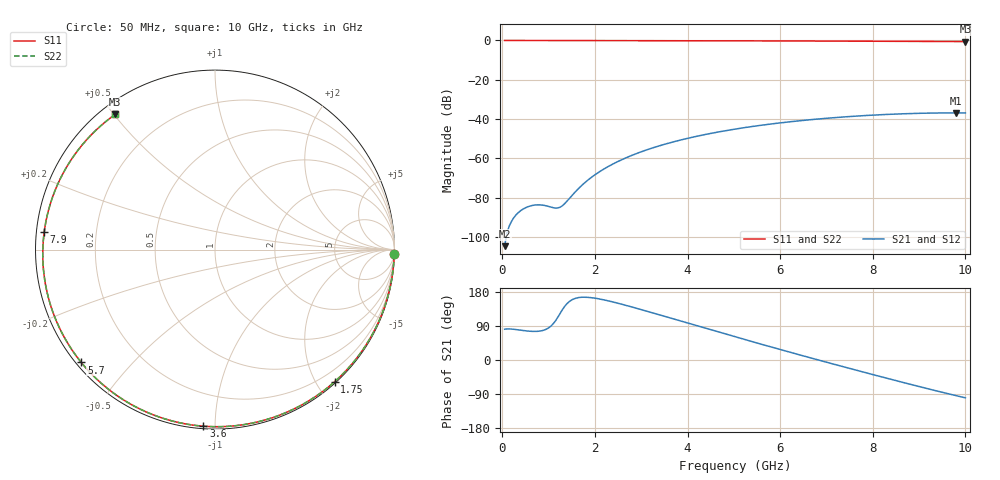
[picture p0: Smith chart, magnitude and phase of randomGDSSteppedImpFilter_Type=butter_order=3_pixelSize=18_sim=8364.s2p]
! freq	dB(S11)	phase(S11)	dB(S12)	phase(S12)
!  dB(S21)	phase(S21)	dB(S22)	phase(S22)
!S-par simulation data
#  GHz  S  DB  R 50
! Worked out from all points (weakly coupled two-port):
!   200 points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, 50 MHz to 10 GHz, reference 50 ohm
!   highest |S21| = -36.84 dB at 9.8 GHz (marker M1); lowest = -104.6 dB at 50 MHz (marker M2)
!   lowest |S11| = -0.6 dB at 10 GHz (marker M3), VSWR 30.32, Z = 2.07 + j25.2 ohm
!   |S11| at or under -10 dB: nowhere
!   |S22| runs from -0.6 to 0.0 dB; largest |S21 - S12| = 0
!   S11 on the Smith chart (normalised r, x): 50 MHz: 2, -85; 1.75 GHz: 0.02, -2.25; 3.6 GHz: 0.01, -0.94; 5.7 GHz: 0.01, -0.37; 7.9 GHz: 0.02, +0.05; 10 GHz: 0.04, +0.50
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0.05  -0.00 -1.4  -104.64 81.2  -104.64 81.2  -0.00 -1.4
0.4  -0.02 -11.2  -86.53 78.5  -86.53 78.5  -0.02 -11.2
0.75  -0.03 -20.9  -83.63 75.6  -83.63 75.6  -0.03 -20.9
1.1  -0.04 -30.5  -85.07 95.7  -85.07 95.7  -0.04 -30.5
1.45  -0.05 -39.9  -80.35 154.6  -80.35 154.6  -0.05 -39.9
1.75  -0.06 -47.9  -73.00 165.7  -73.00 165.7  -0.06 -47.9
2.05  -0.07 -55.7  -67.53 162.1  -67.53 162.1  -0.07 -55.7
2.45  -0.08 -65.9  -62.11 151.3  -62.11 151.3  -0.08 -65.9
2.9  -0.10 -77.1  -57.50 136.4  -57.50 136.4  -0.10 -77.1
3.4  -0.11 -89.1  -53.53 118.9  -53.53 118.9  -0.11 -89.1
3.6  -0.12 -93.7  -52.18 111.8  -52.18 111.8  -0.12 -93.7
4.3  -0.15 -109.7  -48.24 86.9  -48.24 86.9  -0.15 -109.7
5.05  -0.18 -126.1  -45.00 60.5  -45.00 60.5  -0.18 -126.1
5.7  -0.22 -139.8  -42.80 38.0  -42.80 38.0  -0.22 -139.8
6.2  -0.25 -150.3  -41.40 20.9  -41.40 20.9  -0.25 -150.3
6.7  -0.29 -160.7  -40.21 4.2  -40.21 4.2  -0.29 -160.7
7.3  -0.33 -173.2  -39.03 -15.7  -39.03 -15.7  -0.33 -173.2
7.9  -0.39 174.1  -38.11 -35.2  -38.11 -35.2  -0.39 174.1
8.35  -0.43 164.4  -37.58 -49.6  -37.58 -49.6  -0.43 164.4
9.05  -0.49 148.8  -37.04 -71.6  -37.04 -71.6  -0.49 148.8
9.8  -0.56 131.3  -36.84 -94.1  -36.84 -94.1  -0.56 131.3
10  -0.57 126.4  -36.86 -99.8  -36.86 -99.8  -0.57 126.4
